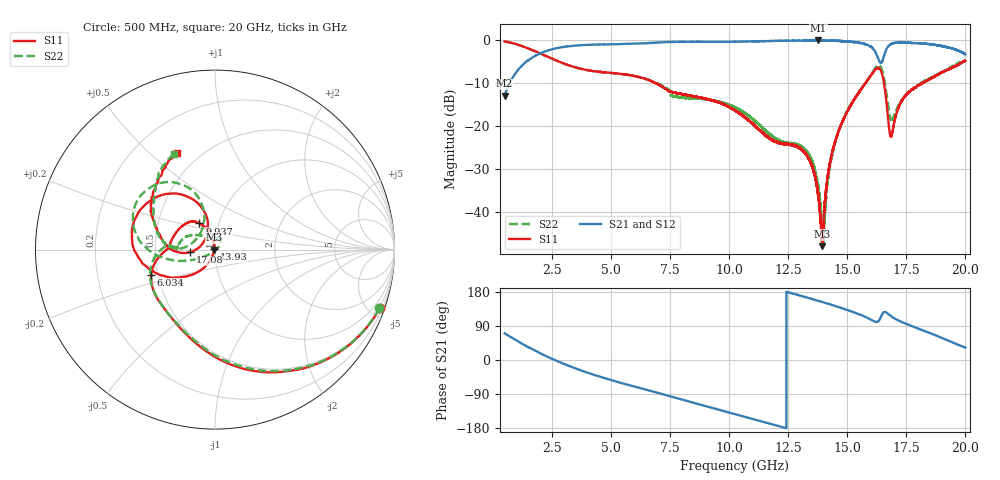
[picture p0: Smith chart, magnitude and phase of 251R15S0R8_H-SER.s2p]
!{251R15S0R8}
!Johanson Technology Inc.
!www.johansontechnology.com
!Test Board Conditions:
!Substrate Type  RO4350B
!Substrate Thickness  20 mil
!Substrate Dk  3.66
!TL Type: GCPW
!TL Trace Width  34 mil
!TL Gap  10 mil
!Electrode orientation  Horizontal
!DUT TOPOLOGY	SERIES
!Mounting Pad LxW  26x52 mil
! Created Thu Mar 12 16:29:40 2020
# mhz S ma R 50
! 2 Port Network Data from SP1.SP block
! freq  magS11  angS11  magS21  angS21  magS12  angS12  magS22  angS22
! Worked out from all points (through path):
!   19501 points, 500 MHz to 20 GHz, reference 50 ohm
!   highest |S21| = -0.01 dB at 13.78 GHz (marker M1); lowest = -12.9 dB at 500 MHz (marker M2)
!   lowest |S11| = -48.0 dB at 13.94 GHz (marker M3), VSWR 1.01, Z = 49.6 + j0.0473 ohm
!   |S11| at or under -10 dB: 6.9 GHz to 15.77 GHz (8.865 GHz wide, 78.2 % of centre); 16.56 GHz to 18.17 GHz (1.619 GHz wide, 9.33 % of centre); 18.17865 GHz to 18.18 GHz (1.35 MHz wide, 0.00743 % of centre) (the widest 3 of 6)
!   |S22| runs from -48.0 to -0.2 dB; largest |S21 - S12| = 0.023
!   S11 on the Smith chart (normalised r, x): 500 MHz: 0.45, -5.74; 6.034 GHz: 0.46, -0.15; 9.937 GHz: 0.81, +0.24; 13.93 GHz: 0.99, +0.00; 17.08 GHz: 0.75, -0.02; 20 GHz: 0.38, +0.61
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500  0.9738 -19.6  0.2262 70.5  0.2267 70.5  0.9727 -19.6
1701  0.7664 -63.1  0.6377 27.6  0.6388 27.6  0.7622 -62.5
2663  0.5886 -91.5  0.8073 -1.0  0.8071 -1.1  0.5859 -90.4
3750  0.4655 -117.4  0.8797 -27.9  0.88 -27.8  0.4639 -116.9
6034  0.3816 -158.5  0.9167 -70.7  0.9175 -70.7  0.3828 -160.9
7000  0.3062 -173.8  0.9446 -87.0  0.9452 -86.9  0.3118 -178.0
9937  0.1698 120.7  0.9636 -137.6  0.9643 -137.5  0.1805 157.3
10250  0.1518 116.9  0.9651 -142.8  0.9663 -142.9  0.1656 152.4
13500  0.03483 98.9  0.9972 161.2  0.9947 161.3  0.0398 43.0
13779  0.01573 103.5  0.999 156.1  0.996 156.2  0.01931 30.1
13928  0.004756 157.7  0.9919 153.3  0.9946 153.4  0.006926 -6.2
13943  0.00397 173.1  0.992 153.1  0.9979 153.0  0.005145 -16.3
14404  0.05419 -112.9  0.9907 144.2  0.9909 144.3  0.0525 -143.1
15333  0.2109 -135.8  0.9533 124.6  0.9538 124.7  0.2136 -163.2
15982  0.3825 -163.6  0.8497 107.2  0.8504 107.4  0.3868 177.8
16348  0.4734 153.5  0.5792 104.5  0.5754 105.1  0.5112 144.0
16539  0.3358 117.9  0.6356 126.1  0.6316 126.5  0.3856 114.2
16750  0.1081 112.1  0.8641 120.8  0.8594 121.0  0.1597 113.1
16872  0.07814 157.7  0.9133 115.0  0.9078 115.1  0.1183 141.4
17084  0.1404 -174.0  0.9369 106.9  0.9365 107.0  0.154 172.9
18498  0.3547 158.6  0.9023 71.0  0.8974 70.8  0.3613 157.7
20000  0.5791 111.6  0.6902 32.8  0.6904 33.2  0.579 113.2
